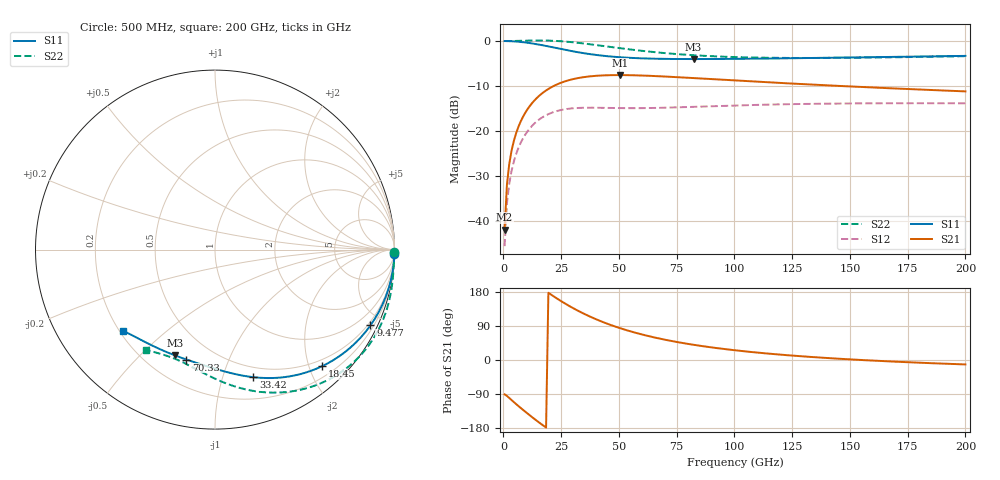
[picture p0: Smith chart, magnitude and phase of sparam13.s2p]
!2-port S-parameter file
!Title: **.subckt s_param_testbench_lna
!Generated by ngspice at Wed Oct 26 01:10:00  2022
# Hz S RI R 50
!freq  ReS11  ImS11  ReS21  ImS21  ReS12  ImS12  ReS22  ImS22
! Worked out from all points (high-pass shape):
!   201 points, 500 MHz to 200 GHz, reference 50 ohm
!   highest |S21| = -7.57 dB at 50.38 GHz (marker M1); lowest = -41.9 dB at 500 MHz (marker M2)
!   |S21| within 3 dB of the highest: 19.73 GHz to 170.4 GHz (150.6 GHz wide, 158 % of centre)
!   lowest |S11| = -4.0 dB at 82.3 GHz (marker M3), VSWR 4.41, Z = 16.3 - j31.9 ohm
!   |S11| at or under -10 dB: nowhere
!   |S22| runs from -3.8 to 0.1 dB; largest |S21 - S12| = 0.47
!   S11 on the Smith chart (normalised r, x): 500 MHz: 0, -82; 9.477 GHz: 0.36, -4.31; 18.45 GHz: 0.38, -2.22; 33.42 GHz: 0.40, -1.26; 70.33 GHz: 0.35, -0.71; 200 GHz: 0.21, -0.36
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5e8  0.9996 -0.0245  -8.89e-05 -0.00802  0.000143 0.00524  0.9997 -0.013
1.4975e9  0.9963 -0.0732  -0.00207 -0.025  0.00122 0.0155  0.9986 -0.0381
2.495e9  0.9898 -0.1214  -0.00757 -0.0419  0.00322 0.0256  0.9974 -0.0628
3.4925e9  0.9803 -0.1688  -0.0163 -0.0578  0.00608 0.0353  0.9962 -0.0875
4.49e9  0.9677 -0.2151  -0.0279 -0.0722  0.00977 0.0446  0.9948 -0.1126
6.485e9  0.9343 -0.3035  -0.0582 -0.0948  0.0195 0.0618  0.9905 -0.1636
9.4775e9  0.8663 -0.4221  -0.1163 -0.1098  0.0386 0.0828  0.9792 -0.2425
1.34675e10  0.7522 -0.5479  -0.2001 -0.0897  0.0688 0.1002  0.9513 -0.3505
1.8455e10  0.5951 -0.6504  -0.2822 -0.00817  0.1061 0.1055  0.8907 -0.4822
2.54375e10  0.3912 -0.7099  -0.3111 0.1549  0.1448 0.0929  0.7619 -0.6366
3.34175e10  0.2131 -0.7108  -0.2325 0.3156  0.1665 0.0704  0.5841 -0.7469
3.4415e10  0.1949 -0.7086  -0.2175 0.3305  0.1679 0.0678  0.5617 -0.7557
4.13975e10  0.0885 -0.688  -0.1013 0.4  0.1733 0.0528  0.4133 -0.7918
5.0375e10  -0.011 -0.6604  0.0421 0.4162  0.1747 0.0413  0.2546 -0.7929
5.8355e10  -0.0789 -0.6392  0.1423 0.3896  0.1756 0.036  0.1458 -0.7727
6.73325e10  -0.1414 -0.6186  0.222 0.34  0.1778 0.0324  0.0531 -0.7421
7.0325e10  -0.1598 -0.6123  0.2419 0.3218  0.1788 0.0313  0.0278 -0.7316
8.2295e10  -0.2246 -0.5888  0.2962 0.2497  0.1837 0.0271  -0.0537 -0.6929
1.0025e11  -0.3007 -0.5574  0.3286 0.1578  0.1912 0.019  -0.1379 -0.6486
1.34165e11  -0.4002 -0.5094  0.3244 0.0434  0.2004 0.000102  -0.2427 -0.6007
1.670825e11  -0.4649 -0.4757  0.298 -0.0192  0.2025 -0.0183  -0.3189 -0.5764
2e11  -0.5133 -0.4515  0.2697 -0.0559  0.2 -0.0346  -0.3833 -0.5593
